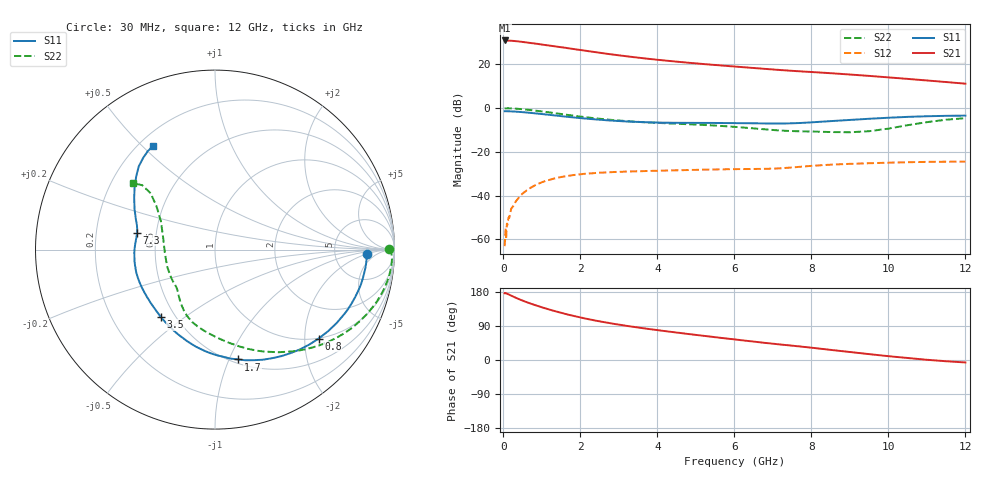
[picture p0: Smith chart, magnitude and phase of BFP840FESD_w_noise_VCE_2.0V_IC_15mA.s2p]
! Infineon Technologies  Discrete & RF Semiconductors
! BFP840FESD
! VCE =  2.0 V,  IC =  15 mA
! Common Emitter S-Parameters:  May 2012
# GHz  S  MA  R  50
!  f  S11  S21  S12  S22
! GHz  MAG  ANG  MAG  ANG  MAG  ANG  MAG  ANG
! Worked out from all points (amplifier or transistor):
!   103 points, 30 MHz to 12 GHz, reference 50 ohm
!   highest |S21| = 30.9 dB at 30 MHz (marker M1)
!   |S21| within 3 dB of that: start of sweep to 1.46 GHz
!   unconditionally stable (mu >= 1): 6.129 GHz to end of sweep
!   at 400 MHz: K = 0.15, MSG = 35.7 dB, |S12| = -40.9 dB
!   at 3.7 GHz: K = 0.65, MSG = 25.7 dB, |S12| = -28.8 dB
!   at 12 GHz: K = 1.11, MAG = 15.8 dB, |S12| = -24.5 dB
!   lowest NFmin = 0.78 dB at 450 MHz
!   S11 on the Smith chart (normalised r, x): 30 MHz: 12, -2; 800 MHz: 0.99, -2.33; 1.7 GHz: 0.54, -1.08; 3.5 GHz: 0.42, -0.41; 7.3 GHz: 0.39, +0.09; 12 GHz: 0.26, +0.54
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0.03  0.8457 -1.5  34.99 176.0  0.0007 71.9  0.9715 0.2
0.04  0.8462 -2.1  34.94 175.7  0.0009 74.4  0.9777 -0.3
0.05  0.8457 -2.6  34.95 176.8  0.0014 84.3  0.9825 -0.7
0.07  0.8456 -3.6  34.86 176.1  0.001 94.7  0.9846 -1.7
0.25  0.8357 -13.5  34.2 167.6  0.0057 78.3  0.9779 -9.8
0.45  0.8126 -23.9  32.75 158.7  0.0101 74.9  0.9484 -17.5
0.6  0.7912 -31.3  31.49 152.7  0.0131 70.9  0.9203 -22.9
0.8  0.7608 -40.7  29.9 145.6  0.0168 66.0  0.8801 -29.6
1  0.73 -49.7  28.2 139.0  0.0202 61.4  0.8371 -35.9
1.2  0.6985 -58.3  26.67 132.9  0.023 57.2  0.7939 -41.9
1.7  0.6251 -78.2  23.1 119.3  0.0284 47.9  0.6911 -55.5
2.1  0.5787 -92.2  20.57 110.0  0.0315 42.5  0.6242 -65.2
2.4  0.5507 -101.3  18.86 103.8  0.0329 39.0  0.5824 -71.7
2.8  0.5181 -112.3  16.86 96.6  0.0343 35.6  0.5369 -79.1
3.5  0.4817 -128.8  14.16 85.7  0.036 32.0  0.4837 -90.2
4.1  0.4649 -141.0  12.43 77.5  0.0371 30.3  0.4544 -98.1
5  0.4581 -156.7  10.47 66.2  0.0387 29.0  0.4191 -108.2
6.1  0.4515 -173.3  8.75 53.2  0.0403 28.6  0.3664 -120.1
7.3  0.4447 167.7  7.274 39.8  0.0427 32.7  0.3031 -134.5
8.5  0.5029 153.1  6.252 26.7  0.0509 32.0  0.2832 -159.8
10.5  0.6288 132.5  4.634 5.3  0.0579 25.9  0.4063 143.4
12  0.6721 121.1  3.602 -6.5  0.0596 24.0  0.5868 140.9
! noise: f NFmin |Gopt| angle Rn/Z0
0.45  0.78  0.16  5  0.11
0.9  0.8  0.16  11  0.13
1.5  0.81  0.15  19  0.13
1.9  0.82  0.14  28  0.14
2.4  0.82  0.13  40  0.14
3.5  0.84  0.13  65  0.13
5.5  0.89  0.09  134  0.11
8  0.99  0.11  -167  0.12
10  1.1  0.26  -121  0.14
12  1.31  0.42  -106  0.17
